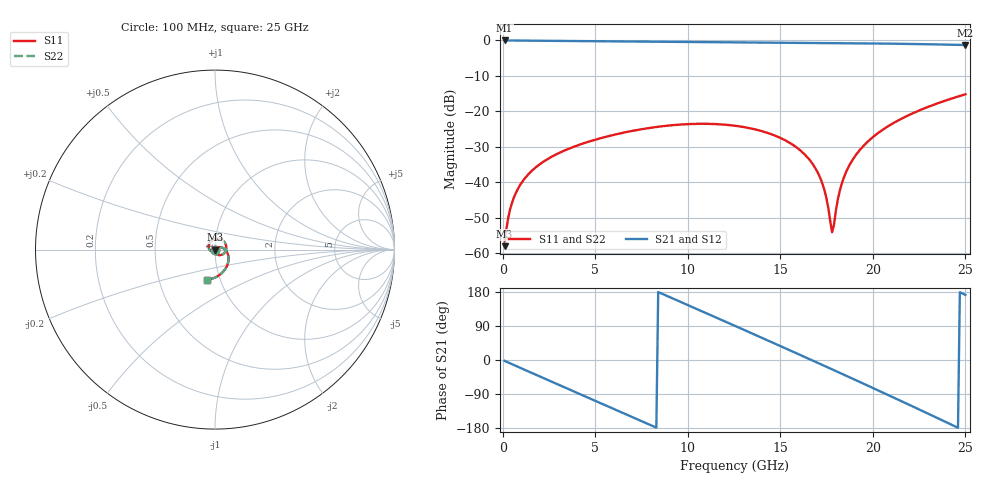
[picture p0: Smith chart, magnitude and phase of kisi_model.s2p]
! kisi A_s4_d300_ap800: fast channel model (formula impedances, via model), up to 25 GHz
# Hz S RI R 50
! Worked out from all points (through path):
!   250 points, 100 MHz to 25 GHz, reference 50 ohm
!   highest |S21| = -0.01 dB at 100 MHz (marker M1); lowest = -1.3 dB at 25 GHz (marker M2)
!   group delay of S21, straight-line fit = 60.6 ps
!   lowest |S11| = -58.1 dB at 100 MHz (marker M3), VSWR 1.00, Z = 50.1 - j0.115 ohm
!   |S11| at or under -10 dB: start of sweep to end of sweep
!   |S22| runs from -58.1 to -15.2 dB; largest |S21 - S12| = 0
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1e8  0.000504 -0.00115  0.998 -0.0389  0.998 -0.0389  0.000504 -0.00115
4e8  -0.000479 -0.00414  0.9852 -0.1528  0.9852 -0.1528  -0.000479 -0.00414
1.1e9  -0.00525 -0.00912  0.9074 -0.4041  0.9074 -0.4041  -0.00525 -0.00912
2.8e9  -0.0227 -0.00793  0.4833 -0.8583  0.4833 -0.8583  -0.0227 -0.00793
4.3e9  -0.034 0.00758  -0.0476 -0.9768  -0.0476 -0.9768  -0.034 0.00758
6.6e9  -0.0266 0.0428  -0.763 -0.5948  -0.763 -0.5948  -0.0266 0.0428
8.4e9  0.00324 0.0605  -0.9592 0.0107  -0.9592 0.0107  0.00324 0.0605
9.5e9  0.027 0.0589  -0.8701 0.3919  -0.8701 0.3919  0.027 0.0589
1.07e10  0.0499 0.0442  -0.6094 0.7274  -0.6094 0.7274  0.0499 0.0442
1.26e10  0.0622 0.0032  0.0169 0.9406  0.0169 0.9406  0.0622 0.0032
1.37e10  0.0518 -0.0188  0.3936 0.8495  0.3936 0.8495  0.0518 -0.0188
1.49e10  0.0306 -0.0307  0.7235 0.5866  0.7235 0.5866  0.0306 -0.0307
1.67e10  0.00277 -0.0186  0.9239 -0.00661  0.9239 -0.00661  0.00277 -0.0186
1.74e10  0.000247 -0.00744  0.8858 -0.2515  0.8858 -0.2515  0.000247 -0.00744
1.78e10  0.00174 -0.000924  0.8348 -0.3841  0.8348 -0.3841  0.00174 -0.000924
1.82e10  0.00539 0.005  0.7639 -0.5071  0.7639 -0.5071  0.00539 0.005
1.87e10  0.0128 0.0107  0.6499 -0.6432  0.6499 -0.6432  0.0128 0.0107
1.96e10  0.0322 0.0132  0.3869 -0.8228  0.3869 -0.8228  0.0322 0.0132
2.09e10  0.0628 -0.00772  -0.0641 -0.8983  -0.0641 -0.8983  0.0628 -0.00772
2.2e10  0.0755 -0.0486  -0.4332 -0.7798  -0.4332 -0.7798  0.0755 -0.0486
2.32e10  0.0583 -0.1064  -0.7347 -0.486  -0.7347 -0.486  0.0583 -0.1064
2.5e10  -0.0421 -0.1685  -0.8519 0.1222  -0.8519 0.1222  -0.0421 -0.1685
